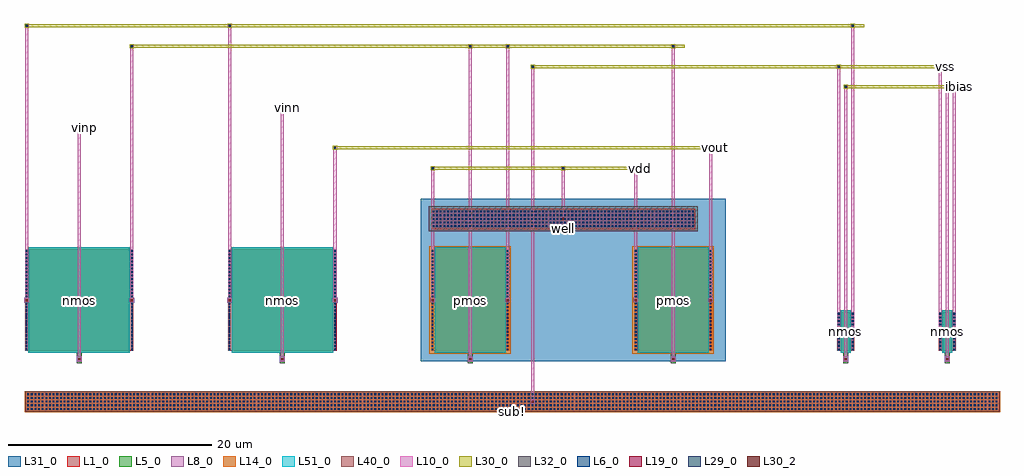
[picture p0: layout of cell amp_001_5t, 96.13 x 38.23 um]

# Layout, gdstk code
import gdstk
lib = gdstk.Library(unit=1e-6, precision=1e-09)
def R(c, l, rs):  # rectangles x0, y0, x1, y1
    for r in rs: c.add(gdstk.rectangle(r[:2], r[2:], *l))
def A(c, l, x, y, w, h, nx, ny, dx, dy):  # array of equal rectangles
    R(c, l, [(x+i*dx, y+j*dy, x+i*dx+w, y+j*dy+h) for i in range(nx) for j in range(ny)])
L1_0 = (1, 0)
L5_0 = (5, 0)
L6_0 = (6, 0)
L8_0 = (8, 0)
L10_0 = (10, 0)
L14_0 = (14, 0)
L19_0 = (19, 0)
L29_0 = (29, 0)
L30_0 = (30, 0)
L30_2 = (30, 2)
L31_0 = (31, 0)
L32_0 = (32, 0)
L40_0 = (40, 0)
L51_0 = (51, 0)

amp_001_5t = lib.new_cell('amp_001_5t')
R(amp_001_5t, L1_0, [(0,-6,96,-4), (0,0,0.3,0.3), (0,0,10.68,10), (10.38,0,10.68,0.3), (20,0,20.3,0.3), (20,0,30.68,10), (30.38,0,30.68,0.3), (40,0,40.3,0.3), (40,0,47.68,10), (47.38,0,47.68,0.3), (60,0,60.3,0.3), (60,0,67.68,10), (67.38,0,67.68,0.3), (80,0,80.3,0.3), (80,0,81.68,3.8), (81.38,0,81.68,0.3), (90,0,90.3,0.3), (90,0,91.68,3.8), (91.38,0,91.68,0.3), (40,12,66,14)])
R(amp_001_5t, L5_0, [(5.09,-1.2,5.59,0), (25.09,-1.2,25.59,0), (43.59,-1.2,44.09,0), (63.59,-1.2,64.09,0), (80.59,-1.2,81.09,0), (90.59,-1.2,91.09,0), (0.34,-0.18,10.34,10.18), (20.34,-0.18,30.34,10.18), (40.34,-0.18,47.34,10.18), (40.34,-0.18,47.34,10.18), (60.34,-0.18,67.34,10.18), (60.34,-0.18,67.34,10.18), (80.34,-0.18,81.34,3.98), (90.34,-0.18,91.34,3.98)])
A(amp_001_5t, L6_0, 0.22, -5.8, 0.16, 0.16, 266, 5, 0.36, 0.36)
A(amp_001_5t, L6_0, 0.07, 0.07, 0.16, 0.16, 1, 4, 0, 0.345)
A(amp_001_5t, L6_0, 10.45, 0.07, 0.16, 0.16, 1, 4, 0, 0.345)
A(amp_001_5t, L6_0, 20.07, 0.07, 0.16, 0.16, 1, 4, 0, 0.345)
A(amp_001_5t, L6_0, 30.45, 0.07, 0.16, 0.16, 1, 4, 0, 0.345)
A(amp_001_5t, L6_0, 40.07, 0.07, 0.16, 0.16, 1, 4, 0, 0.345)
A(amp_001_5t, L6_0, 47.45, 0.07, 0.16, 0.16, 1, 4, 0, 0.345)
A(amp_001_5t, L6_0, 60.07, 0.07, 0.16, 0.16, 1, 4, 0, 0.345)
A(amp_001_5t, L6_0, 67.45, 0.07, 0.16, 0.16, 1, 4, 0, 0.345)
A(amp_001_5t, L6_0, 80.07, 0.07, 0.16, 0.16, 1, 11, 0, 0.35)
A(amp_001_5t, L6_0, 81.45, 0.07, 0.16, 0.16, 1, 11, 0, 0.35)
A(amp_001_5t, L6_0, 90.07, 0.07, 0.16, 0.16, 1, 11, 0, 0.35)
A(amp_001_5t, L6_0, 91.45, 0.07, 0.16, 0.16, 1, 11, 0, 0.35)
A(amp_001_5t, L6_0, 0.07, 1.455, 0.16, 0.16, 1, 3, 0, 0.345)
A(amp_001_5t, L6_0, 10.45, 1.455, 0.16, 0.16, 1, 3, 0, 0.345)
A(amp_001_5t, L6_0, 20.07, 1.455, 0.16, 0.16, 1, 3, 0, 0.345)
A(amp_001_5t, L6_0, 30.45, 1.455, 0.16, 0.16, 1, 3, 0, 0.345)
A(amp_001_5t, L6_0, 40.07, 1.455, 0.16, 0.16, 1, 3, 0, 0.345)
A(amp_001_5t, L6_0, 47.45, 1.455, 0.16, 0.16, 1, 3, 0, 0.345)
A(amp_001_5t, L6_0, 60.07, 1.455, 0.16, 0.16, 1, 3, 0, 0.345)
A(amp_001_5t, L6_0, 67.45, 1.455, 0.16, 0.16, 1, 3, 0, 0.345)
A(amp_001_5t, L6_0, 0.07, 2.495, 0.16, 0.16, 1, 4, 0, 0.345)
A(amp_001_5t, L6_0, 10.45, 2.495, 0.16, 0.16, 1, 4, 0, 0.345)
A(amp_001_5t, L6_0, 20.07, 2.495, 0.16, 0.16, 1, 4, 0, 0.345)
A(amp_001_5t, L6_0, 30.45, 2.495, 0.16, 0.16, 1, 4, 0, 0.345)
A(amp_001_5t, L6_0, 40.07, 2.495, 0.16, 0.16, 1, 4, 0, 0.345)
A(amp_001_5t, L6_0, 47.45, 2.495, 0.16, 0.16, 1, 4, 0, 0.345)
A(amp_001_5t, L6_0, 60.07, 2.495, 0.16, 0.16, 1, 4, 0, 0.345)
A(amp_001_5t, L6_0, 67.45, 2.495, 0.16, 0.16, 1, 4, 0, 0.345)
A(amp_001_5t, L6_0, 0.07, 3.88, 0.16, 0.16, 1, 3, 0, 0.345)
A(amp_001_5t, L6_0, 10.45, 3.88, 0.16, 0.16, 1, 3, 0, 0.345)
A(amp_001_5t, L6_0, 20.07, 3.88, 0.16, 0.16, 1, 3, 0, 0.345)
A(amp_001_5t, L6_0, 30.45, 3.88, 0.16, 0.16, 1, 3, 0, 0.345)
A(amp_001_5t, L6_0, 40.07, 3.88, 0.16, 0.16, 1, 3, 0, 0.345)
A(amp_001_5t, L6_0, 47.45, 3.88, 0.16, 0.16, 1, 3, 0, 0.345)
A(amp_001_5t, L6_0, 60.07, 3.88, 0.16, 0.16, 1, 3, 0, 0.345)
A(amp_001_5t, L6_0, 67.45, 3.88, 0.16, 0.16, 1, 3, 0, 0.345)
A(amp_001_5t, L6_0, 0.07, 4.92, 0.16, 0.16, 1, 4, 0, 0.345)
A(amp_001_5t, L6_0, 10.45, 4.92, 0.16, 0.16, 1, 4, 0, 0.345)
A(amp_001_5t, L6_0, 20.07, 4.92, 0.16, 0.16, 1, 4, 0, 0.345)
A(amp_001_5t, L6_0, 30.45, 4.92, 0.16, 0.16, 1, 4, 0, 0.345)
A(amp_001_5t, L6_0, 40.07, 4.92, 0.16, 0.16, 1, 4, 0, 0.345)
A(amp_001_5t, L6_0, 47.45, 4.92, 0.16, 0.16, 1, 4, 0, 0.345)
A(amp_001_5t, L6_0, 60.07, 4.92, 0.16, 0.16, 1, 4, 0, 0.345)
A(amp_001_5t, L6_0, 67.45, 4.92, 0.16, 0.16, 1, 4, 0, 0.345)
A(amp_001_5t, L6_0, 0.07, 6.305, 0.16, 0.16, 1, 3, 0, 0.345)
A(amp_001_5t, L6_0, 10.45, 6.305, 0.16, 0.16, 1, 3, 0, 0.345)
A(amp_001_5t, L6_0, 20.07, 6.305, 0.16, 0.16, 1, 3, 0, 0.345)
A(amp_001_5t, L6_0, 30.45, 6.305, 0.16, 0.16, 1, 3, 0, 0.345)
A(amp_001_5t, L6_0, 40.07, 6.305, 0.16, 0.16, 1, 3, 0, 0.345)
A(amp_001_5t, L6_0, 47.45, 6.305, 0.16, 0.16, 1, 3, 0, 0.345)
A(amp_001_5t, L6_0, 60.07, 6.305, 0.16, 0.16, 1, 3, 0, 0.345)
A(amp_001_5t, L6_0, 67.45, 6.305, 0.16, 0.16, 1, 3, 0, 0.345)
A(amp_001_5t, L6_0, 0.07, 7.345, 0.16, 0.16, 1, 4, 0, 0.345)
A(amp_001_5t, L6_0, 10.45, 7.345, 0.16, 0.16, 1, 4, 0, 0.345)
A(amp_001_5t, L6_0, 20.07, 7.345, 0.16, 0.16, 1, 4, 0, 0.345)
A(amp_001_5t, L6_0, 30.45, 7.345, 0.16, 0.16, 1, 4, 0, 0.345)
A(amp_001_5t, L6_0, 40.07, 7.345, 0.16, 0.16, 1, 4, 0, 0.345)
A(amp_001_5t, L6_0, 47.45, 7.345, 0.16, 0.16, 1, 4, 0, 0.345)
A(amp_001_5t, L6_0, 60.07, 7.345, 0.16, 0.16, 1, 4, 0, 0.345)
A(amp_001_5t, L6_0, 67.45, 7.345, 0.16, 0.16, 1, 4, 0, 0.345)
A(amp_001_5t, L6_0, 0.07, 8.73, 0.16, 0.16, 1, 3, 0, 0.345)
A(amp_001_5t, L6_0, 10.45, 8.73, 0.16, 0.16, 1, 3, 0, 0.345)
A(amp_001_5t, L6_0, 20.07, 8.73, 0.16, 0.16, 1, 3, 0, 0.345)
A(amp_001_5t, L6_0, 30.45, 8.73, 0.16, 0.16, 1, 3, 0, 0.345)
A(amp_001_5t, L6_0, 40.07, 8.73, 0.16, 0.16, 1, 3, 0, 0.345)
A(amp_001_5t, L6_0, 47.45, 8.73, 0.16, 0.16, 1, 3, 0, 0.345)
A(amp_001_5t, L6_0, 60.07, 8.73, 0.16, 0.16, 1, 3, 0, 0.345)
A(amp_001_5t, L6_0, 67.45, 8.73, 0.16, 0.16, 1, 3, 0, 0.345)
A(amp_001_5t, L6_0, 40.14, 12.2, 0.16, 0.16, 72, 5, 0.36, 0.36)
R(amp_001_5t, L6_0, [(5.26,-0.88,5.42,-0.72), (25.26,-0.88,25.42,-0.72), (43.76,-0.88,43.92,-0.72), (63.76,-0.88,63.92,-0.72), (80.76,-0.88,80.92,-0.72), (90.76,-0.88,90.92,-0.72), (0.07,9.77,0.23,9.93), (10.45,9.77,10.61,9.93), (20.07,9.77,20.23,9.93), (30.45,9.77,30.61,9.93), (40.07,9.77,40.23,9.93), (47.45,9.77,47.61,9.93), (60.07,9.77,60.23,9.93), (67.45,9.77,67.61,9.93)])
R(amp_001_5t, L8_0, [(0.22,-5.85,95.78,-4.15), (0.22,-5.8,95.78,-4.2), (49.8,-5.2,50.2,-4.8), (5.09,-1.05,5.59,-0.55), (25.09,-1.05,25.59,-0.55), (43.59,-1.05,44.09,-0.55), (63.59,-1.05,64.09,-0.55), (80.59,-1.05,81.09,-0.55), (90.59,-1.05,91.09,-0.55), (5.14,-1,5.54,-0.6), (25.14,-1,25.54,-0.6), (43.64,-1,44.04,-0.6), (63.64,-1,64.04,-0.6), (80.64,-1,81.04,-0.6), (90.64,-1,91.04,-0.6), (0.07,0,0.23,10), (10.45,0,10.61,10), (20.07,0,20.23,10), (30.45,0,30.61,10), (40.07,0,40.23,10), (40.07,0,40.23,10), (47.45,0,47.61,10), (47.45,0,47.61,10), (60.07,0,60.23,10), (60.07,0,60.23,10), (67.45,0,67.61,10), (67.45,0,67.61,10), (80.07,0,80.23,3.8), (81.45,0,81.61,3.8), (90.07,0,90.23,3.8), (91.45,0,91.61,3.8), (79.9,1.65,80.4,2.15), (81.28,1.65,81.78,2.15), (89.9,1.65,90.4,2.15), (91.28,1.65,91.78,2.15), (79.95,1.7,80.35,2.1), (81.33,1.7,81.73,2.1), (89.95,1.7,90.35,2.1), (91.33,1.7,91.73,2.1), (-0.1,4.75,0.4,5.25), (10.28,4.75,10.78,5.25), (19.9,4.75,20.4,5.25), (30.28,4.75,30.78,5.25), (39.9,4.75,40.4,5.25), (47.28,4.75,47.78,5.25), (59.9,4.75,60.4,5.25), (67.28,4.75,67.78,5.25), (-0.05,4.8,0.35,5.2), (10.33,4.8,10.73,5.2), (19.95,4.8,20.35,5.2), (30.33,4.8,30.73,5.2), (39.95,4.8,40.35,5.2), (47.33,4.8,47.73,5.2), (59.95,4.8,60.35,5.2), (67.33,4.8,67.73,5.2), (40.14,12.15,65.86,13.85), (52.8,12.8,53.2,13.2)])
R(amp_001_5t, L10_0, [(49.8,-5.2,50.2,-4.8), (5.14,-1,5.54,-0.6), (25.14,-1,25.54,-0.6), (43.64,-1,44.04,-0.6), (63.64,-1,64.04,-0.6), (80.64,-1,81.04,-0.6), (90.64,-1,91.04,-0.6), (79.95,1.7,80.35,2.1), (81.33,1.7,81.73,2.1), (89.95,1.7,90.35,2.1), (91.33,1.7,91.73,2.1), (-0.05,4.8,0.35,5.2), (10.33,4.8,10.73,5.2), (19.95,4.8,20.35,5.2), (30.33,4.8,30.73,5.2), (39.95,4.8,40.35,5.2), (47.33,4.8,47.73,5.2), (59.95,4.8,60.35,5.2), (67.33,4.8,67.73,5.2), (52.8,12.8,53.2,13.2), (39.95,17.8,40.35,18.2), (52.8,17.8,53.2,18.2), (59.95,17.8,60.35,18.2), (30.33,19.8,30.73,20.2), (67.33,19.8,67.73,20.2), (5.14,21.8,5.54,22.2), (25.14,23.8,25.54,24.2), (80.64,25.8,81.04,26.2), (90.64,25.8,91.04,26.2), (91.33,25.8,91.73,26.2), (49.8,27.8,50.2,28.2), (79.95,27.8,80.35,28.2), (89.95,27.8,90.35,28.2), (10.33,29.8,10.73,30.2), (43.64,29.8,44.04,30.2), (47.33,29.8,47.73,30.2), (63.64,29.8,64.04,30.2), (-0.05,31.8,0.35,32.2), (19.95,31.8,20.35,32.2), (81.33,31.8,81.73,32.2)])
R(amp_001_5t, L14_0, [(-0.03,-6.03,96.03,-3.97), (39.82,-0.3,47.86,10.3), (59.82,-0.3,67.86,10.3)])
R(amp_001_5t, L19_0, [(49.905,-5.095,50.095,-4.905), (5.245,-0.895,5.435,-0.705), (25.245,-0.895,25.435,-0.705), (43.745,-0.895,43.935,-0.705), (63.745,-0.895,63.935,-0.705), (80.745,-0.895,80.935,-0.705), (90.745,-0.895,90.935,-0.705), (80.055,1.805,80.245,1.995), (81.435,1.805,81.625,1.995), (90.055,1.805,90.245,1.995), (91.435,1.805,91.625,1.995), (0.055,4.905,0.245,5.095), (10.435,4.905,10.625,5.095), (20.055,4.905,20.245,5.095), (30.435,4.905,30.625,5.095), (40.055,4.905,40.245,5.095), (47.435,4.905,47.625,5.095), (60.055,4.905,60.245,5.095), (67.435,4.905,67.625,5.095), (52.905,12.905,53.095,13.095)])
R(amp_001_5t, L29_0, [(40.055,17.905,40.245,18.095), (52.905,17.905,53.095,18.095), (60.055,17.905,60.245,18.095), (30.435,19.905,30.625,20.095), (67.435,19.905,67.625,20.095), (5.245,21.905,5.435,22.095), (25.245,23.905,25.435,24.095), (80.745,25.905,80.935,26.095), (90.745,25.905,90.935,26.095), (91.435,25.905,91.625,26.095), (49.905,27.905,50.095,28.095), (80.055,27.905,80.245,28.095), (90.055,27.905,90.245,28.095), (10.435,29.905,10.625,30.095), (43.745,29.905,43.935,30.095), (47.435,29.905,47.625,30.095), (63.745,29.905,63.935,30.095), (0.055,31.905,0.245,32.095), (20.055,31.905,20.245,32.095), (81.435,31.905,81.625,32.095)])
R(amp_001_5t, L30_0, [(39.95,17.8,40.35,18.2), (52.8,17.8,53.2,18.2), (59.95,17.8,60.35,18.2), (30.33,19.8,30.73,20.2), (67.33,19.8,67.73,20.2), (5.14,21.8,5.54,22.2), (25.14,23.8,25.54,24.2), (80.64,25.8,81.04,26.2), (90.64,25.8,91.04,26.2), (91.33,25.8,91.73,26.2), (49.8,27.8,50.2,28.2), (79.95,27.8,80.35,28.2), (89.95,27.8,90.35,28.2), (10.33,29.8,10.73,30.2), (43.64,29.8,44.04,30.2), (47.33,29.8,47.73,30.2), (63.64,29.8,64.04,30.2), (-0.05,31.8,0.35,32.2), (19.95,31.8,20.35,32.2), (81.33,31.8,81.73,32.2)])
R(amp_001_5t, L30_2, [(60.55,17.9,60.75,18.1), (67.93,19.9,68.13,20.1), (5.74,21.9,5.94,22.1), (25.74,23.9,25.94,24.1), (91.93,25.9,92.13,26.1), (90.55,27.9,90.75,28.1)])
R(amp_001_5t, L31_0, [(39,-1,69,15), (39.69,-0.31,47.99,10.31), (59.69,-0.31,67.99,10.31), (39.76,11.76,66.24,14.24), (40,12,66,14)])
R(amp_001_5t, L32_0, [(39.76,11.76,66.24,14.24)])
R(amp_001_5t, L40_0, [(0,-6,96,-4)])
R(amp_001_5t, L51_0, [(0.34,-0.18,10.34,10.18), (20.34,-0.18,30.34,10.18), (40.34,-0.18,47.34,10.18), (60.34,-0.18,67.34,10.18), (80.34,-0.18,81.34,3.98), (90.34,-0.18,91.34,3.98)])
amp_001_5t.add(gdstk.FlexPath([(40.15,18),(61.15,18)], 0.3, ends="extended", simple_path=True, layer=30, datatype=0))  # L30_0
amp_001_5t.add(gdstk.FlexPath([(30.53,20),(68.53,20)], 0.3, ends="extended", simple_path=True, layer=30, datatype=0))  # L30_0
amp_001_5t.add(gdstk.FlexPath([(5.34,22),(6.34,22)], 0.3, ends="extended", simple_path=True, layer=30, datatype=0))  # L30_0
amp_001_5t.add(gdstk.FlexPath([(25.34,24),(26.34,24)], 0.3, ends="extended", simple_path=True, layer=30, datatype=0))  # L30_0
amp_001_5t.add(gdstk.FlexPath([(80.84,26),(92.53,26)], 0.3, ends="extended", simple_path=True, layer=30, datatype=0))  # L30_0
amp_001_5t.add(gdstk.FlexPath([(50,28),(91.15,28)], 0.3, ends="extended", simple_path=True, layer=30, datatype=0))  # L30_0
amp_001_5t.add(gdstk.FlexPath([(10.53,30),(64.84,30)], 0.3, ends="extended", simple_path=True, layer=30, datatype=0))  # L30_0
amp_001_5t.add(gdstk.FlexPath([(0.15,32),(82.53,32)], 0.3, ends="extended", simple_path=True, layer=30, datatype=0))  # L30_0
amp_001_5t.add(gdstk.FlexPath([(40.15,5),(40.15,18)], 0.3, ends="extended", simple_path=True, layer=10, datatype=0))  # L10_0
amp_001_5t.add(gdstk.FlexPath([(60.15,5),(60.15,18)], 0.3, ends="extended", simple_path=True, layer=10, datatype=0))  # L10_0
amp_001_5t.add(gdstk.FlexPath([(53,13),(53,18)], 0.3, ends="extended", simple_path=True, layer=10, datatype=0))  # L10_0
amp_001_5t.add(gdstk.FlexPath([(30.53,5),(30.53,20)], 0.3, ends="extended", simple_path=True, layer=10, datatype=0))  # L10_0
amp_001_5t.add(gdstk.FlexPath([(67.53,5),(67.53,20)], 0.3, ends="extended", simple_path=True, layer=10, datatype=0))  # L10_0
amp_001_5t.add(gdstk.FlexPath([(5.34,-0.8),(5.34,22)], 0.3, ends="extended", simple_path=True, layer=10, datatype=0))  # L10_0
amp_001_5t.add(gdstk.FlexPath([(25.34,-0.8),(25.34,24)], 0.3, ends="extended", simple_path=True, layer=10, datatype=0))  # L10_0
amp_001_5t.add(gdstk.FlexPath([(80.84,-0.8),(80.84,26)], 0.3, ends="extended", simple_path=True, layer=10, datatype=0))  # L10_0
amp_001_5t.add(gdstk.FlexPath([(91.53,1.9),(91.53,26)], 0.3, ends="extended", simple_path=True, layer=10, datatype=0))  # L10_0
amp_001_5t.add(gdstk.FlexPath([(90.84,-0.8),(90.84,26)], 0.3, ends="extended", simple_path=True, layer=10, datatype=0))  # L10_0
amp_001_5t.add(gdstk.FlexPath([(80.15,1.9),(80.15,28)], 0.3, ends="extended", simple_path=True, layer=10, datatype=0))  # L10_0
amp_001_5t.add(gdstk.FlexPath([(90.15,1.9),(90.15,28)], 0.3, ends="extended", simple_path=True, layer=10, datatype=0))  # L10_0
amp_001_5t.add(gdstk.FlexPath([(50,-5),(50,28)], 0.3, ends="extended", simple_path=True, layer=10, datatype=0))  # L10_0
amp_001_5t.add(gdstk.FlexPath([(10.53,5),(10.53,30)], 0.3, ends="extended", simple_path=True, layer=10, datatype=0))  # L10_0
amp_001_5t.add(gdstk.FlexPath([(47.53,5),(47.53,30)], 0.3, ends="extended", simple_path=True, layer=10, datatype=0))  # L10_0
amp_001_5t.add(gdstk.FlexPath([(43.84,-0.8),(43.84,30)], 0.3, ends="extended", simple_path=True, layer=10, datatype=0))  # L10_0
amp_001_5t.add(gdstk.FlexPath([(63.84,-0.8),(63.84,30)], 0.3, ends="extended", simple_path=True, layer=10, datatype=0))  # L10_0
amp_001_5t.add(gdstk.FlexPath([(0.15,5),(0.15,32)], 0.3, ends="extended", simple_path=True, layer=10, datatype=0))  # L10_0
amp_001_5t.add(gdstk.FlexPath([(20.15,5),(20.15,32)], 0.3, ends="extended", simple_path=True, layer=10, datatype=0))  # L10_0
amp_001_5t.add(gdstk.FlexPath([(81.53,1.9),(81.53,32)], 0.3, ends="extended", simple_path=True, layer=10, datatype=0))  # L10_0
amp_001_5t.add(gdstk.Label('nmos', (5.34,5), layer=63, texttype=0))
amp_001_5t.add(gdstk.Label('nmos', (25.34,5), layer=63, texttype=0))
amp_001_5t.add(gdstk.Label('pmos', (43.84,5), layer=63, texttype=0))
amp_001_5t.add(gdstk.Label('pmos', (63.84,5), layer=63, texttype=0))
amp_001_5t.add(gdstk.Label('nmos', (80.84,1.9), layer=63, texttype=0))
amp_001_5t.add(gdstk.Label('nmos', (90.84,1.9), layer=63, texttype=0))
amp_001_5t.add(gdstk.Label('sub!', (48,-5.99), layer=63, texttype=0))
amp_001_5t.add(gdstk.Label('well', (53,12.01), layer=63, texttype=0))
amp_001_5t.add(gdstk.Label('nmos', (5.34,5), layer=51, texttype=0))
amp_001_5t.add(gdstk.Label('nmos', (25.34,5), layer=51, texttype=0))
amp_001_5t.add(gdstk.Label('pmos', (43.84,5), layer=51, texttype=0))
amp_001_5t.add(gdstk.Label('pmos', (63.84,5), layer=51, texttype=0))
amp_001_5t.add(gdstk.Label('nmos', (80.84,1.9), layer=51, texttype=0))
amp_001_5t.add(gdstk.Label('nmos', (90.84,1.9), layer=51, texttype=0))
amp_001_5t.add(gdstk.Label('well', (53,12.01), layer=31, texttype=0))
amp_001_5t.add(gdstk.Label('sub!', (48,-5.99), layer=40, texttype=0))
amp_001_5t.add(gdstk.Label('vdd', (60.65,18), layer=30, texttype=25))
amp_001_5t.add(gdstk.Label('vout', (68.03,20), layer=30, texttype=25))
amp_001_5t.add(gdstk.Label('vinp', (5.84,22), layer=30, texttype=25))
amp_001_5t.add(gdstk.Label('vinn', (25.84,24), layer=30, texttype=25))
amp_001_5t.add(gdstk.Label('ibias', (92.03,26), layer=30, texttype=25))
amp_001_5t.add(gdstk.Label('vss', (90.65,28), layer=30, texttype=25))

lib.write_gds('amp_001_5t.gds')
